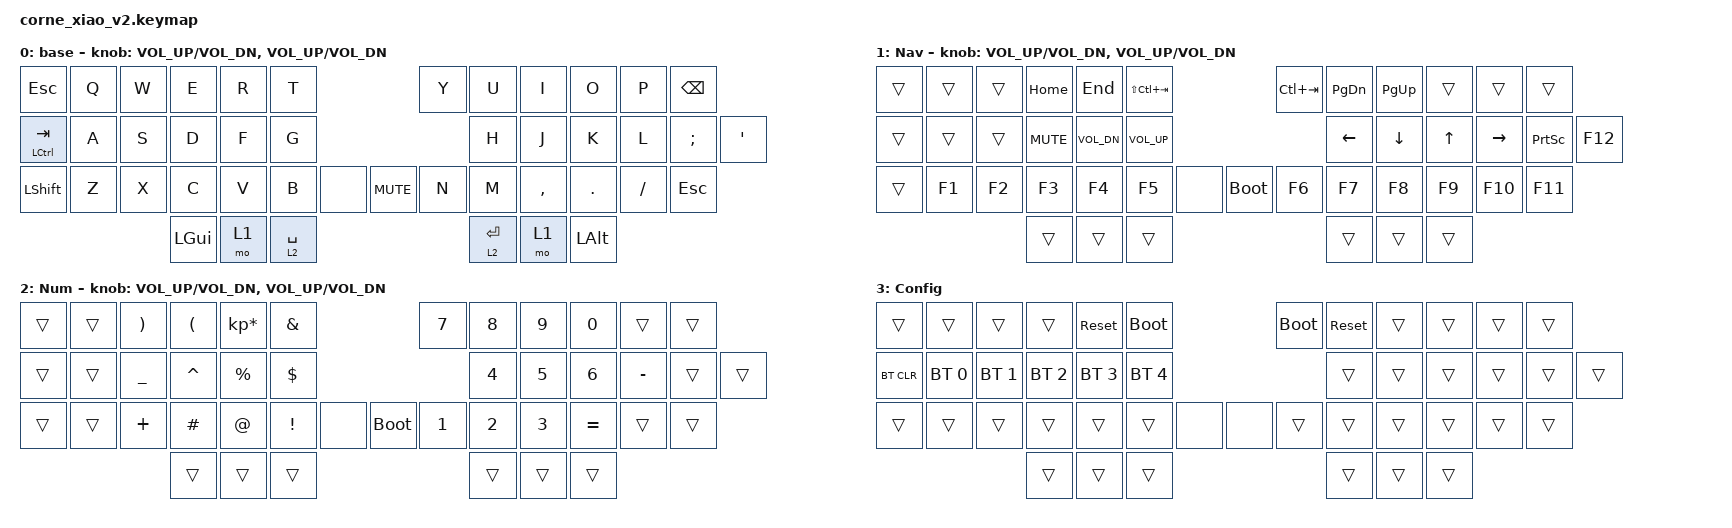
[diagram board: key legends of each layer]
#include <behaviors.dtsi>
#include <dt-bindings/zmk/keys.h>
#include <dt-bindings/zmk/bt.h>

/ {
    combos {
        compatible = "zmk,combos";
        combo_studio_unlock {
            timeout-ms = <50>;
            key-positions = <0 1>;
            bindings = <&studio_unlock>;
        };

        config_layer_switch_1 {
          timeout-ms = <50>;
          key-positions = <39 40>;
          bindings = <&mo 3>;
        };
        config_layer_switch_2 {
          timeout-ms = <50>;
          key-positions = <41 42>;
          bindings = <&mo 3>;
        };
        config_layer_switch_3 {
          timeout-ms = <50>;
          key-positions = <39 41>;
          bindings = <&mo 3>;
        };
        config_layer_switch_4 {
          timeout-ms = <50>;
          key-positions = <40 42>;
          bindings = <&mo 3>;
        };
        open_parentheses {
          timeout-ms = <50>;
          bindings = <&kp LPAR>;
          key-positions = <4 5>;
        };
        close_parentheses {
          timeout-ms = <50>;
          bindings = <&kp RPAR>;
          key-positions = <6 7>;
        };
        open_square {
          timeout-ms = <50>;
          bindings = <&kp LBKT>;
          key-positions = <16 17>;
        };
        close_square {
          timeout-ms = <50>;
          bindings = <&kp RBKT>;
          key-positions = <18 19>;
        };
        open_curly {
          timeout-ms = <50>;
          bindings = <&kp LBRC>;
          key-positions = <28 29>;
        };
        close_curly {
          timeout-ms = <50>;
          bindings = <&kp RBRC>;
          key-positions = <32 33>;
        };
        escape {
          timeout-ms = <50>;
          bindings = <&kp ESC>;
          key-positions = <19 20>;
        };
        
        tilde {
          timeout-ms = <50>;
          bindings = <&kp TILDE>;
          key-positions = <21 22>;
        };

        grave {
          timeout-ms = <50>;
          bindings = <&kp GRAVE>;
          key-positions = <22 23>;
        };

        backslash {
          timeout-ms = <50>;
          bindings = <&kp BSLH>;
          key-positions = <35 36>;
        };
        pipe {
          timeout-ms = <50>;
          bindings = <&kp PIPE>;
          key-positions = <36 37>;
        };
    };
};

/ {
    keymap {
        compatible = "zmk,keymap";

        default_layer {
            display-name = "base";
            sensor-bindings = <&inc_dec_kp C_VOL_UP C_VOL_DN &inc_dec_kp C_VOL_UP C_VOL_DN>;

// -------------------------------------------------------------------------------------------------
// |  TAB |  Q  |  W  |  E  |  R  |  T  |                    |  Y  |  U   |  I  |  O  |  P  | BKSP |
// | CTRL |  A  |  S  |  D  |  F  |  G  |                    |  H  |  J   |  K  |  L  |  ;  |  '   |
// | SHFT |  Z  |  X  |  C  |  V  |  B  |  MUTE  |  |        |  N  |  M   |  ,  |  .  |  /  | ESC  |
//                    | GUI | LWR | RSE SPC |                    | RSE ENT | LWR  | ALT |
            bindings = <
&kp ESC   &kp Q &kp W &kp E    &kp R &kp T                      &kp Y   &kp U &kp I     &kp O   &kp P    &kp BSPC
&mt LCTRL TAB &kp A &kp S &kp D    &kp F &kp G                      &kp H   &kp J &kp K     &kp L   &kp SEMI &kp SQT
&kp LSHFT &kp Z &kp X &kp C    &kp V &kp B     &none &kp C_MUTE &kp N   &kp M &kp COMMA &kp DOT &kp FSLH &kp ESC
                      &kp LGUI &mo 1 &lt 2 SPACE                  &lt 2 RET &mo 1 &kp LALT
            >;
        };

        lower_layer {
            display-name = "Nav";
            sensor-bindings = <&inc_dec_kp C_VOL_UP C_VOL_DN &inc_dec_kp C_VOL_UP C_VOL_DN>;

// ------------------------------------------------------------------------------------------------
// |  TAB |  1  |  2  |  3  |  4  |  5  |                    |  6  |  7  |  8  |  9  |  0  | BKSP |
// | BTCLR| BT1 | BT2 | BT3 | BT4 | BT5 |                    | LFT | DWN |  UP | RGT |     |  F12 |
// | SHFT | F1  | F2  | F3  | F4  | F5  |  boot  |  |        |  F6 | F7  | F8  | F9  | F10 |  F11 |
//                    | GUI | LWR | RSE SPC |                    | RSE ENT | LWR  | ALT |
            bindings = <
&trans    &trans       &trans       &kp HOME       &kp END       &kp LS(LC(TAB))                         &kp LC(TAB)   &kp PAGE_DOWN   &kp PAGE_UP &trans    &trans &trans 
&trans     &trans       &trans       &kp C_MUTE       &kp C_VOL_DN       &kp C_VOL_UP                         &kp LEFT &kp DOWN &kp UP &kp RIGHT &kp PRINTSCREEN &kp F12
&trans  &kp F1       &kp F2       &kp F3       &kp F4       &kp F5       &none &bootloader &kp F6   &kp F7   &kp F8 &kp F9    &kp F10 &kp F11
                                     &trans       &trans       &trans                         &trans   &trans    &trans 
            >;
        };

        raise_layer {
            display-name = "Num";
            sensor-bindings = <&inc_dec_kp C_VOL_UP C_VOL_DN &inc_dec_kp C_VOL_UP C_VOL_DN>;

// ------------------------------------------------------------------------------------------------
// |    |    |  )  |  (  |  *  |  &  |                    |  7  |  8  |  9  |  0  |    |    |
// |    |    |  _  |  ^  |  %  |  $  |                    |  4  |  5  |  6  |  -  |    |    |
// |    |    |  +  |  #  |  @  |  !  |        |  |  boot  |  1  |  2  |  3  |  =  |    |    |
//                 |     |     |     |                    |     |     |     |
            bindings = <
&trans &trans   &kp RPAR &kp LPAR   &kp KP_MULTIPLY   &kp AMPS                      &kp N7 &kp N8 &kp N9 &kp N0    &trans &trans
&trans &trans   &kp UNDER &kp CARET   &kp PRCNT   &kp DLLR                      &kp N4 &kp N5 &kp N6 &kp MINUS &trans &trans
&trans &trans   &kp PLUS &kp HASH   &kp AT   &kp EXCL    &none &bootloader &kp N1 &kp N2 &kp N3 &kp EQUAL &trans &trans
                                     &trans       &trans       &trans                         &trans   &trans    &trans 
            >;
        };

        config_layer {
            display-name = "Config";
// ------------------------------------------------------------------------------------------------
// |      |     |     |     |     |     |                    |     |     |     |     |     |      |
// | BTCLR| BT1 | BT2 | BT3 | BT4 | BT5 |                    | boot|     |     |     |     |      |
// |      |     |     |     |     |     |                    |     |     |     |     |     |      |
//                    | GUI | LWR | RSE SPC |                    | RSE ENT | LWR  | ALT |
            bindings = <
&trans     &trans       &trans       &trans       &sys_reset   &bootloader                    &bootloader     &sys_reset    &trans &trans   &trans  &trans 
&bt BT_CLR &bt BT_SEL 0 &bt BT_SEL 1 &bt BT_SEL 2 &bt BT_SEL 3 &bt BT_SEL 4                   &trans   &trans &trans &trans   &trans  &trans
&trans     &trans       &trans       &trans       &trans       &trans   &none &none           &trans   &trans &trans &trans   &trans  &trans 
                                     &trans       &trans       &trans                         &trans   &trans &trans 
            >;
        };

        extra2 {
            display-name = "extra2";
            status = "reserved";
        };
    };
};
